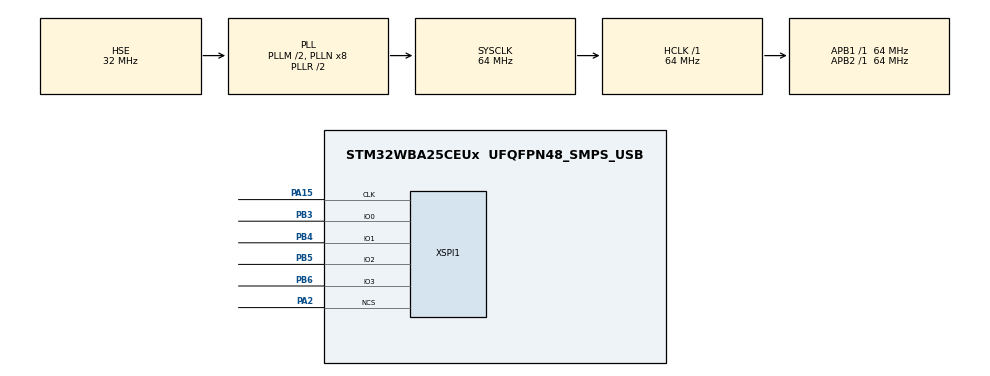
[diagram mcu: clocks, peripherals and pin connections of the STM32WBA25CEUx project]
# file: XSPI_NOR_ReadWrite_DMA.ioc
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CORTEX_M33_NS.userName=CORTEX_M33
LPDMA1.DESTDATAWIDTH_LPDMACH0=DMA_DEST_DATAWIDTH_WORD
LPDMA1.DESTDATAWIDTH_LPDMACH1=DMA_DEST_DATAWIDTH_WORD
LPDMA1.DESTINC_LPDMACH1=DMA_DINC_INCREMENTED
LPDMA1.DIRECTION_LPDMACH0=DMA_MEMORY_TO_PERIPH
LPDMA1.DMAHANDLE_LPDMACH0=hdmatx
LPDMA1.IPHANDLE_LPDMACH0-SIMPLEREQUEST_LPDMACH0=__NULL
LPDMA1.IPHANDLE_LPDMACH1-SIMPLEREQUEST_LPDMACH1=__NULL
LPDMA1.PRIORITY_LPDMACH0=DMA_LOW_PRIORITY_HIGH_WEIGHT
LPDMA1.REQUEST_LPDMACH0=LPDMA1_REQUEST_XSPI1
LPDMA1.REQUEST_LPDMACH1=LPDMA1_REQUEST_XSPI1
LPDMA1.SRCDATAWIDTH_LPDMACH0=DMA_SRC_DATAWIDTH_WORD
LPDMA1.SRCDATAWIDTH_LPDMACH1=DMA_SRC_DATAWIDTH_WORD
LPDMA1.SRCINC_LPDMACH0=DMA_SINC_INCREMENTED
Mcu.Family=STM32WBA
Mcu.Name=STM32WBA25CEUx
Mcu.Package=UFQFPN48_SMPS_USB
NVIC.LPDMA1_Channel0_IRQn=true\:0\:0\:false\:false\:true\:false\:true\:true
NVIC.LPDMA1_Channel1_IRQn=true\:0\:0\:false\:false\:true\:false\:true\:true
NVIC.PriorityGroup=NVIC_PRIORITYGROUP_4
NVIC.XSPI1_IRQn=true\:0\:0\:false\:false\:true\:true\:true\:true
OSC_IN.Mode=HSE-External-Oscillator
OSC_IN.Signal=RCC_OSC_IN
OSC_OUT.Mode=HSE-External-Oscillator
OSC_OUT.Signal=RCC_OSC_OUT
PA15\ (JTDI).Mode=quad_mode
PA15\ (JTDI).Signal=XSPI1_CLK
PA2.Mode=quad_mode
PA2.Signal=XSPI1_NCS
PB3\ (JTDO/TRACESWO).Mode=XSPI1_IO[3\:0]
PB3\ (JTDO/TRACESWO).Signal=XSPI1_IO0
PB4\ (NJTRST).Mode=XSPI1_IO[3\:0]
PB4\ (NJTRST).Signal=XSPI1_IO1
PB5.Mode=XSPI1_IO[3\:0]
PB5.Signal=XSPI1_IO2
PB6.Mode=XSPI1_IO[3\:0]
PB6.Signal=XSPI1_IO3
ProjectManager.HeapSize=0x200
ProjectManager.StackSize=0x400
ProjectManager.TargetToolchain=EWARM V9.60
RCC.ADCFreq_Value=64000000
RCC.AHB5CLKDivider=RCC_SYSCLK_PLL1_DIV2
RCC.AHBFreq_Value=64000000
RCC.APB1Freq_Value=64000000
RCC.APB1TimFreq_Value=64000000
RCC.APB2Freq_Value=64000000
RCC.APB2TimFreq_Value=64000000
RCC.CortexFreq_Value=8000000
RCC.HCLKFreq_Value=64000000
RCC.HSE_VALUE=32000000
RCC.HSI_VALUE=16000000
RCC.LSE_VALUE=32768
RCC.PLLFRACN=0
RCC.PLLM=2
RCC.PLLN=8
RCC.PLLSourceVirtual=RCC_PLLSOURCE_HSE
RCC.SYSCLKFreq_VALUE=64000000
RCC.SYSCLKSourceVirtual=RCC_SYSCLKSOURCE_PLLCLK
RCC.VCOOutputFreq_Value=128000000
VP_CORTEX_M33_NS_VS_Hclk.Mode=Hclk_Mode
VP_ICACHE_VS_ICACHE.Mode=DirectMappedCache
VP_LPDMA1_VS_LPDMACH0.Mode=SIMPLEREQUEST_LPDMACH0
VP_LPDMA1_VS_LPDMACH1.Mode=SIMPLEREQUEST_LPDMACH1
VP_PWR_VS_SECSignals.Mode=Security/Privilege
XSPI1.ClockPrescaler=1
XSPI1.FifoThresholdByte=4
XSPI1.MemorySize=HAL_XSPI_SIZE_32MB
XSPI1.MemoryType=HAL_XSPI_MEMTYPE_MACRONIX
board=custom

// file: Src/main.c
/* USER CODE BEGIN Header */
/**
  ******************************************************************************
  * @file           : main.c
  * @brief          : Main program body
  ******************************************************************************
  * @attention
  *
  * Copyright (c) 2025 STMicroelectronics.
  * All rights reserved.
  *
  * This software is licensed under terms that can be found in the LICENSE file
  * in the root directory of this software component.
  * If no LICENSE file comes with this software, it is provided AS-IS.
  *
  ******************************************************************************
  */
/* USER CODE END Header */
#include "main.h"

XSPI_HandleTypeDef hxspi1;
DMA_HandleTypeDef handle_LPDMA1_Channel0;
DMA_HandleTypeDef handle_LPDMA1_Channel1;

/* USER CODE BEGIN PV */
__IO uint8_t CmdCplt, RxCplt, TxCplt;

/* Buffer used for transmission */
const uint8_t aTxBuffer[] = "****XSPI communication based on DMA****  ****XSPI communication based on DMA****  ****XSPI communication based on DMA****  ****XSPI communication based on DMA****  ****XSPI communication based on DMA****  ****XSPI communication based on DMA****";

/* Buffer used for reception */
uint8_t aRxBuffer[BUFFERSIZE];
/* USER CODE END PV */

void SystemClock_Config(void);
static void MX_GPIO_Init(void);
static void MX_LPDMA1_Init(void);
static void MX_XSPI1_Init(void);
static void MX_ICACHE_Init(void);
/* USER CODE BEGIN PFP */
static void XSPI_WriteEnable(XSPI_HandleTypeDef *hxspi);
static void XSPI_AutoPollingMemReady(XSPI_HandleTypeDef *hxspi);
static void XSPI_AutoPollingMemWriteEnable(XSPI_HandleTypeDef *hxspi);
static void XSPI_QuadModeCfg(XSPI_HandleTypeDef *hxspi);
/* USER CODE END PFP */

int main(void)
{

  /* USER CODE BEGIN 1 */
  XSPI_RegularCmdTypeDef sCommand = {0};
  uint32_t address = 0;
  uint16_t index;
  __IO uint8_t step = 0;
  /* STM32WBAxx HAL library initialization:
       - Systick timer is configured by default as source of time base, but user
             can eventually implement his proper time base source (a general purpose
             timer for example or other time source), keeping in mind that Time base
             duration should be kept 1ms since PPP_TIMEOUT_VALUEs are defined and
             handled in milliseconds basis.
       - Set NVIC Group Priority to 4
       - Low Level Initialization
     */
  /* USER CODE END 1 */

  /* MCU Configuration--------------------------------------------------------*/

  /* Reset of all peripherals, Initializes the Flash interface and the Systick. */
  HAL_Init();

  /* Configure the system clock */
  SystemClock_Config();

  /* USER CODE BEGIN SysInit */
  /* Configure LD1, LD2 and LD3 */
  BSP_LED_Init(LD1);
  BSP_LED_Init(LD2);
  BSP_LED_Init(LD3);
  /* USER CODE END SysInit */

  /* Initialize all configured peripherals */
  MX_GPIO_Init();
  MX_LPDMA1_Init();
  MX_XSPI1_Init();
  MX_ICACHE_Init();
  /* USER CODE BEGIN 2 */
  /* Configure the memory in quad mode ------------------------------------- */
  XSPI_QuadModeCfg(&hxspi1);

  sCommand.InstructionMode    = HAL_XSPI_INSTRUCTION_1_LINE;
  sCommand.InstructionWidth   = HAL_XSPI_INSTRUCTION_8_BITS;
  sCommand.InstructionDTRMode = HAL_XSPI_INSTRUCTION_DTR_DISABLE;
  sCommand.AddressWidth       = HAL_XSPI_ADDRESS_24_BITS;
  sCommand.AddressDTRMode     = HAL_XSPI_ADDRESS_DTR_DISABLE;
  sCommand.AlternateBytesMode = HAL_XSPI_ALT_BYTES_NONE;
  sCommand.DataDTRMode        = HAL_XSPI_DATA_DTR_DISABLE;
  sCommand.DQSMode            = HAL_XSPI_DQS_DISABLE;

  /* USER CODE END 2 */

  /* Infinite loop */
  /* USER CODE BEGIN WHILE */
  while (1)
  {
    switch(step)
    {
      case 0:
        CmdCplt = 0;

        /* Enable write operations ------------------------------------------ */
        XSPI_WriteEnable(&hxspi1);

        /* Erasing Sequence ------------------------------------------------- */
        sCommand.OperationType = HAL_XSPI_OPTYPE_COMMON_CFG;
        sCommand.Instruction   = SECTOR_ERASE_CMD;
        sCommand.AddressMode   = HAL_XSPI_ADDRESS_1_LINE;
        sCommand.Address       = address;
        sCommand.DataMode      = HAL_XSPI_DATA_NONE;
        sCommand.DummyCycles   = 0U;

        if (HAL_XSPI_Command_IT(&hxspi1, &sCommand) != HAL_OK)
        {
          Error_Handler();
        }

        step++;
        break;

      case 1:
        if(CmdCplt != 0)
        {
          CmdCplt = 0;

          /* Configure automatic polling mode to wait for end of erase ------ */
          XSPI_AutoPollingMemReady(&hxspi1);

          /* Enable write operations ---------------------------------------- */
          XSPI_WriteEnable(&hxspi1);

          /* Writing Sequence ----------------------------------------------- */
          sCommand.Instruction        = QUAD_PAGE_PROG_CMD;
          sCommand.Address            = address;
          sCommand.AddressMode        = HAL_XSPI_ADDRESS_4_LINES;
          sCommand.DataLength         = BUFFERSIZE;
          sCommand.DummyCycles        = 0U;
          sCommand.DataMode           = HAL_XSPI_DATA_4_LINES;

          if (HAL_XSPI_Command(&hxspi1, &sCommand, HAL_XSPI_TIMEOUT_DEFAULT_VALUE) != HAL_OK)
          {
            Error_Handler();
          }

          if(HAL_XSPI_Transmit_DMA(&hxspi1, &aTxBuffer[0]) != HAL_OK)
          {
            Error_Handler();
          }

          step++;
        }
        break;

      case 2:
        if(TxCplt != 0)
        {
          TxCplt = 0;
          RxCplt = 0;

          /* Configure automatic polling mode to wait for end of program ---- */
          XSPI_AutoPollingMemReady(&hxspi1);

          /* Reading Sequence ----------------------------------------------- */
          sCommand.Instruction   = FOUR_IO_READ_CMD;
          sCommand.DummyCycles   = DUMMY_CLOCK_CYCLES_4READ;
          sCommand.AddressMode   = HAL_XSPI_ADDRESS_4_LINES;

          if (HAL_XSPI_Command(&hxspi1, &sCommand, HAL_XSPI_TIMEOUT_DEFAULT_VALUE) != HAL_OK)
          {
            Error_Handler();
          }

          if (HAL_XSPI_Receive_DMA(&hxspi1, aRxBuffer) != HAL_OK)
          {
            Error_Handler();
          }
          step++;
        }
        break;

      case 3:
        if (RxCplt != 0)
        {
          RxCplt = 0;

          /* Result comparison ----------------------------------------------- */
          for (index = 0; index < BUFFERSIZE; index++)
          {
            if (aRxBuffer[index] != aTxBuffer[index])
            {
              BSP_LED_On(LD2);
            }
          }
          BSP_LED_Toggle(LD1);
          HAL_Delay(50);

          address += XSPI_PAGE_SIZE;
          if(address >= XSPI_END_ADDR)
          {
            address = 0;
          }
          step = 0;
        }
        break;

      default :
        Error_Handler();
    }
    /* USER CODE END WHILE */

  }
}

void SystemClock_Config(void)
{
  RCC_OscInitTypeDef RCC_OscInitStruct = {0};
  RCC_ClkInitTypeDef RCC_ClkInitStruct = {0};

  /** Supply configuration update enable
  */
  HAL_PWREx_ConfigSupply(PWR_LDO_SUPPLY);

  /** Configure the main internal regulator output voltage
  */
  if (HAL_PWREx_ControlVoltageScaling(PWR_REGULATOR_VOLTAGE_SCALE1) != HAL_OK)
  {
    Error_Handler();
  }

  /** Initializes the CPU, AHB and APB busses clocks
  */
  RCC_OscInitStruct.OscillatorType = RCC_OSCILLATORTYPE_HSE;
  RCC_OscInitStruct.HSEState = RCC_HSE_ON;
  RCC_OscInitStruct.HSEDiv = RCC_HSE_DIV1;
  RCC_OscInitStruct.PLL1.PLLState = RCC_PLL_ON;
  RCC_OscInitStruct.PLL1.PLLSource = RCC_PLLSOURCE_HSE;
  RCC_OscInitStruct.PLL1.PLLM = 2;
  RCC_OscInitStruct.PLL1.PLLN = 8;
  RCC_OscInitStruct.PLL1.PLLP = 2;
  RCC_OscInitStruct.PLL1.PLLQ = 2;
  RCC_OscInitStruct.PLL1.PLLR = 2;
  RCC_OscInitStruct.PLL1.PLLFractional = 0;
  if (HAL_RCC_OscConfig(&RCC_OscInitStruct) != HAL_OK)
  {
    Error_Handler();
  }

  /** Initializes the CPU, AHB and APB busses clocks
  */
  RCC_ClkInitStruct.ClockType = RCC_CLOCKTYPE_HCLK|RCC_CLOCKTYPE_SYSCLK
                              |RCC_CLOCKTYPE_PCLK1|RCC_CLOCKTYPE_PCLK2
                              |RCC_CLOCKTYPE_PCLK7|RCC_CLOCKTYPE_HCLK5;
  RCC_ClkInitStruct.SYSCLKSource = RCC_SYSCLKSOURCE_PLLCLK;
  RCC_ClkInitStruct.AHBCLKDivider = RCC_SYSCLK_DIV1;
  RCC_ClkInitStruct.APB1CLKDivider = RCC_HCLK_DIV1;
  RCC_ClkInitStruct.APB2CLKDivider = RCC_HCLK_DIV1;
  RCC_ClkInitStruct.APB7CLKDivider = RCC_HCLK_DIV1;
  RCC_ClkInitStruct.AHB5_PLL1_CLKDivider = RCC_SYSCLK_PLL1_DIV2;
  RCC_ClkInitStruct.AHB5_HSEHSI_CLKDivider = RCC_SYSCLK_HSEHSI_DIV1;

  if (HAL_RCC_ClockConfig(&RCC_ClkInitStruct, FLASH_LATENCY_1) != HAL_OK)
  {
    Error_Handler();
  }
}

static void MX_ICACHE_Init(void)
{

  /** Enable instruction cache in 1-way (direct mapped cache)
  */
  if (HAL_ICACHE_ConfigAssociativityMode(ICACHE_1WAY) != HAL_OK)
  {
    Error_Handler();
  }
  if (HAL_ICACHE_Enable() != HAL_OK)
  {
    Error_Handler();
  }

}

static void MX_LPDMA1_Init(void)
{

  /* Peripheral clock enable */
  __HAL_RCC_LPDMA1_CLK_ENABLE();

  /* LPDMA1 interrupt Init */
    HAL_NVIC_SetPriority(LPDMA1_Channel0_IRQn, 0, 0);
    HAL_NVIC_EnableIRQ(LPDMA1_Channel0_IRQn);
    HAL_NVIC_SetPriority(LPDMA1_Channel1_IRQn, 0, 0);
    HAL_NVIC_EnableIRQ(LPDMA1_Channel1_IRQn);

}

static void MX_XSPI1_Init(void)
{

  /* XSPI1 parameter configuration*/
  hxspi1.Instance = XSPI1;
  hxspi1.Init.FifoThresholdByte = 4;
  hxspi1.Init.MemoryMode = HAL_XSPI_SINGLE_MEM;
  hxspi1.Init.MemoryType = HAL_XSPI_MEMTYPE_MACRONIX;
  hxspi1.Init.MemorySize = HAL_XSPI_SIZE_32MB;
  hxspi1.Init.ChipSelectHighTimeCycle = 1;
  hxspi1.Init.FreeRunningClock = HAL_XSPI_FREERUNCLK_DISABLE;
  hxspi1.Init.ClockMode = HAL_XSPI_CLOCK_MODE_0;
  hxspi1.Init.ClockPrescaler = 1;
  hxspi1.Init.SampleShifting = HAL_XSPI_SAMPLE_SHIFT_NONE;
  hxspi1.Init.DelayHoldQuarterCycle = HAL_XSPI_DHQC_DISABLE;
  hxspi1.Init.DelayBlockBypass = HAL_XSPI_DELAY_BLOCK_BYPASS;
  hxspi1.Init.MemorySelect = HAL_XSPI_CSSEL_NCS1;
  if (HAL_XSPI_Init(&hxspi1) != HAL_OK)
  {
    Error_Handler();
  }

}

static void MX_GPIO_Init(void)
{

  /* GPIO Ports Clock Enable */
  __HAL_RCC_GPIOA_CLK_ENABLE();
  __HAL_RCC_GPIOB_CLK_ENABLE();

}

/* USER CODE BEGIN 4 */
/**
  * @brief  Command completed callback.
  * @param  hxspi: XSPI handle
  * @retval None
  */
void HAL_XSPI_CmdCpltCallback(XSPI_HandleTypeDef *hxspi)
{
  CmdCplt++;
}

/**
  * @brief  Rx Transfer completed callback.
  * @param  hospi: XSPI handle
  * @retval None
  */
void HAL_XSPI_RxCpltCallback(XSPI_HandleTypeDef *hxspi)
{
  RxCplt++;
}

/**
  * @brief  Tx Transfer completed callback.
  * @param  hospi: XSPI handle
  * @retval None
  */
 void HAL_XSPI_TxCpltCallback(XSPI_HandleTypeDef *hxspi)
{
  TxCplt++;
}

/**
  * @brief  Transfer Error callback.
  * @param  hxspi: XSPI handle
  * @retval None
  */
void HAL_XSPI_ErrorCallback(XSPI_HandleTypeDef *hxspi)
{
  Error_Handler();
}

/**
  * @brief  This function send a Write Enable and wait it is effective.
  * @param  hxspi: XSPI handle
  * @retval None
  */
static void XSPI_WriteEnable(XSPI_HandleTypeDef *hxspi)
{
  XSPI_RegularCmdTypeDef  sCommand = {0};

  /* Enable write operations ------------------------------------------ */
  sCommand.OperationType      = HAL_XSPI_OPTYPE_COMMON_CFG;
  sCommand.Instruction        = WRITE_ENABLE_CMD;
  sCommand.InstructionMode    = HAL_XSPI_INSTRUCTION_1_LINE;
  sCommand.InstructionWidth   = HAL_XSPI_INSTRUCTION_8_BITS;
  sCommand.InstructionDTRMode = HAL_XSPI_INSTRUCTION_DTR_DISABLE;
  sCommand.AddressMode        = HAL_XSPI_ADDRESS_NONE;
  sCommand.AlternateBytesMode = HAL_XSPI_ALT_BYTES_NONE;
  sCommand.DataMode           = HAL_XSPI_DATA_NONE;
  sCommand.DummyCycles        = 0U;
  sCommand.DQSMode            = HAL_XSPI_DQS_DISABLE;

  if (HAL_XSPI_Command(hxspi, &sCommand, HAL_XSPI_TIMEOUT_DEFAULT_VALUE) != HAL_OK)
  {
    Error_Handler();
  }

  /* Configure automatic polling mode to wait for write enabling  ------ */
  XSPI_AutoPollingMemWriteEnable(&hxspi1);
}

/**
  * @brief  This function read the SR of the memory and wait the WIP.
  * @param  hxspi: XSPI handle
  * @retval None
  */
static void XSPI_AutoPollingMemReady(XSPI_HandleTypeDef *hxspi)
{
  XSPI_RegularCmdTypeDef  sCommand = {0};
  uint8_t reg = 0xFFU;

  while((reg & SR_WIP_BIT) == SR_WIP_BIT)
  {
    /* Configure automatic polling mode to wait for write enabling ---- */
    sCommand.Instruction     = READ_STATUS_REG_CMD;
    sCommand.InstructionMode = HAL_XSPI_INSTRUCTION_1_LINE;
    sCommand.AddressMode     = HAL_XSPI_ADDRESS_NONE;
    sCommand.AddressDTRMode  = HAL_XSPI_ADDRESS_DTR_DISABLE;
    sCommand.DataMode        = HAL_XSPI_DATA_1_LINE;
    sCommand.DataDTRMode     = HAL_XSPI_DATA_DTR_DISABLE;
    sCommand.DataLength      = 1U;
    sCommand.DummyCycles     = DUMMY_CLOCK_CYCLES_READ_REG;

    if (HAL_XSPI_Command(hxspi, &sCommand, HAL_XSPI_TIMEOUT_DEFAULT_VALUE) != HAL_OK)
    {
      Error_Handler();
    }

    if (HAL_XSPI_Receive(hxspi, &reg, HAL_XSPI_TIMEOUT_DEFAULT_VALUE) != HAL_OK)
    {
      Error_Handler();
    }
  }
}

/**
  * @brief  This function read the SR of the memory and wait the WEL.
  * @param  hxspi: XSPI handle
  * @retval None
  */
static void XSPI_AutoPollingMemWriteEnable(XSPI_HandleTypeDef *hxspi)
{
  XSPI_RegularCmdTypeDef  sCommand = {0};
  uint8_t reg = 0x0U;

  while((reg & SR_WEL_BIT) != SR_WEL_BIT)
  {
    /* Configure automatic polling mode to wait for write enabling ---- */
    sCommand.Instruction     = READ_STATUS_REG_CMD;
    sCommand.InstructionMode = HAL_XSPI_INSTRUCTION_1_LINE;
    sCommand.AddressMode     = HAL_XSPI_ADDRESS_NONE;
    sCommand.AddressDTRMode  = HAL_XSPI_ADDRESS_DTR_DISABLE;
    sCommand.DataMode        = HAL_XSPI_DATA_1_LINE;
    sCommand.DataDTRMode     = HAL_XSPI_DATA_DTR_DISABLE;
    sCommand.DataLength      = 1U;
    sCommand.DummyCycles     = DUMMY_CLOCK_CYCLES_READ_REG;

    if (HAL_XSPI_Command(hxspi, &sCommand, HAL_XSPI_TIMEOUT_DEFAULT_VALUE) != HAL_OK)
    {
      Error_Handler();
    }

    if (HAL_XSPI_Receive(hxspi, &reg, HAL_XSPI_TIMEOUT_DEFAULT_VALUE) != HAL_OK)
    {
      Error_Handler();
    }
  }
}

/**
  * @brief  This function configure the memory in Quad mode.
  * @param  hxspi: XSPI handle
  * @retval None
  */
static void XSPI_QuadModeCfg(XSPI_HandleTypeDef *hxspi)
{
  XSPI_RegularCmdTypeDef  sCommand = {0};
  uint8_t reg[3];

  /* Read status register operation */
  sCommand.Instruction        = READ_STATUS_REG_CMD;
  sCommand.DataMode           = HAL_XSPI_DATA_1_LINE;
  sCommand.InstructionMode    = HAL_XSPI_INSTRUCTION_1_LINE;
  sCommand.InstructionWidth   = HAL_XSPI_INSTRUCTION_8_BITS;
  sCommand.InstructionDTRMode = HAL_XSPI_INSTRUCTION_DTR_DISABLE;
  sCommand.AddressMode        = HAL_XSPI_ADDRESS_NONE;
  sCommand.AlternateBytesMode = HAL_XSPI_ALT_BYTES_NONE;
  sCommand.DataMode           = HAL_XSPI_DATA_1_LINE;
  sCommand.DataDTRMode        = HAL_XSPI_DATA_DTR_DISABLE;
  sCommand.DataLength         = 1U;
  sCommand.DummyCycles        = DUMMY_CLOCK_CYCLES_READ_REG;
  sCommand.DQSMode            = HAL_XSPI_DQS_DISABLE;

  if (HAL_XSPI_Command(hxspi, &sCommand, HAL_XSPI_TIMEOUT_DEFAULT_VALUE) != HAL_OK)
  {
    Error_Handler();
  }

  if (HAL_XSPI_Receive(hxspi, &reg[0], HAL_XSPI_TIMEOUT_DEFAULT_VALUE) != HAL_OK)
  {
    Error_Handler();
  }

  /* Read configuration register operation */
  sCommand.Instruction        = READ_CONF_REG_CMD;
  sCommand.DataLength         = 2U;

  if (HAL_XSPI_Command(hxspi, &sCommand, HAL_XSPI_TIMEOUT_DEFAULT_VALUE) != HAL_OK)
  {
    Error_Handler();
  }

  if (HAL_XSPI_Receive(hxspi, &reg[1], HAL_XSPI_TIMEOUT_DEFAULT_VALUE) != HAL_OK)
  {
    Error_Handler();
  }

  SET_BIT(reg[0], SR_QE_BIT);

  /* Enable write operations ---------------------------------------- */
  sCommand.OperationType      = HAL_XSPI_OPTYPE_COMMON_CFG;
  sCommand.Instruction        = WRITE_ENABLE_CMD;
  sCommand.DataMode           = HAL_XSPI_DATA_NONE;

  if (HAL_XSPI_Command(hxspi, &sCommand, HAL_XSPI_TIMEOUT_DEFAULT_VALUE) != HAL_OK)
  {
    Error_Handler();
  }

  /* Configure automatic polling mode to wait for write enabling ---- */
  XSPI_AutoPollingMemWriteEnable(&hxspi1);

  /* Write Status register (with quad mode enable) --------- */
  sCommand.Instruction    = WRITE_STATUS_REGISTER;
  sCommand.DataMode       = HAL_XSPI_DATA_1_LINE;
  sCommand.DataLength     = 3U;

  if (HAL_XSPI_Command(hxspi, &sCommand, HAL_XSPI_TIMEOUT_DEFAULT_VALUE) != HAL_OK)
  {
    Error_Handler();
  }

  if (HAL_XSPI_Transmit(hxspi, &reg[0], HAL_XSPI_TIMEOUT_DEFAULT_VALUE) != HAL_OK)
  {
    Error_Handler();
  }

  /* Wait that the memory is ready ---------------------------------- */
  XSPI_AutoPollingMemReady(hxspi);
}
/* USER CODE END 4 */

void Error_Handler(void)
{
  /* USER CODE BEGIN Error_Handler_Debug */
  /* User can add his own implementation to report the HAL error return state */
  /* Turn LD1 off */
  BSP_LED_Off(LD1);
  /* Toggle LD3 for error */
  while(1)
  {
    BSP_LED_Toggle(LD3);
    HAL_Delay(1000);
  }
  /* USER CODE END Error_Handler_Debug */
}
